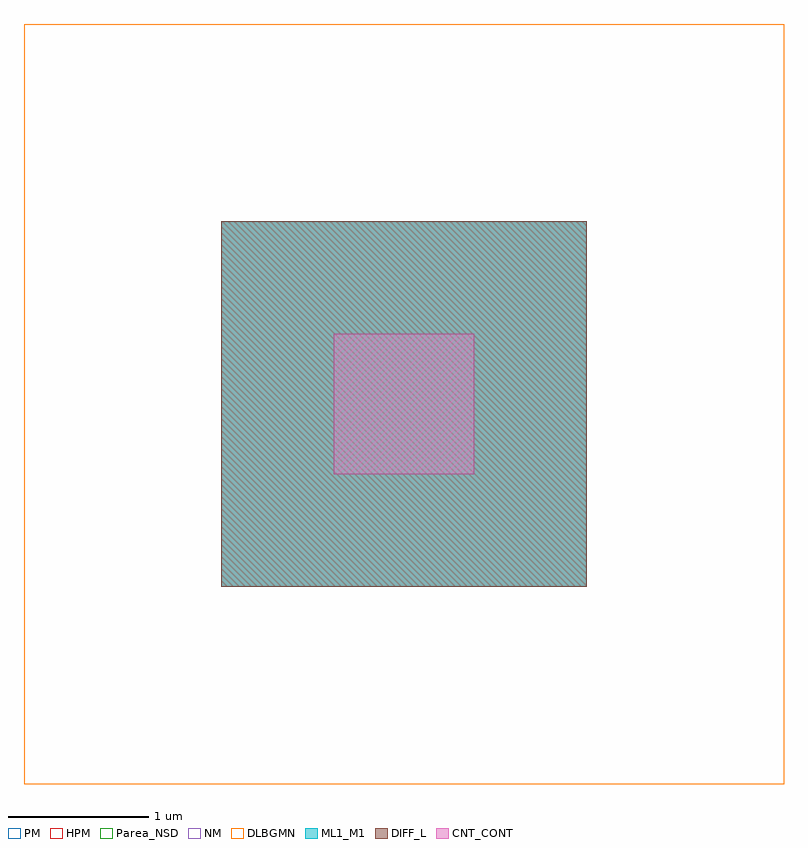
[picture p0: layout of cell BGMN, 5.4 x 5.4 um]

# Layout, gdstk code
import gdstk
lib = gdstk.Library(unit=1e-6, precision=1e-09)
def R(c, l, rs):  # rectangles x0, y0, x1, y1
    for r in rs: c.add(gdstk.rectangle(r[:2], r[2:], *l))
DIFF_L = (3, 0)
NM = (7, 0)
CNT_CONT = (11, 0)
ML1_M1 = (13, 0)
Parea_NSD = (28, 0)
HPM = (33, 0)
PM = (35, 0)
DLBGMN = (178, 0)

dcont = lib.new_cell('DCONT')
R(dcont, DIFF_L, [(-1.3,-1.3,1.3,1.3)])
R(dcont, CNT_CONT, [(-0.5,-0.5,0.5,0.5)])
R(dcont, ML1_M1, [(-1.3,-1.3,1.3,1.3), (-0.5,-0.5,0.5,0.5)])

bgmn = lib.new_cell('BGMN')
R(bgmn, NM, [(-2.7,-2.7,2.7,2.7)])
R(bgmn, Parea_NSD, [(-2.7,-2.7,2.7,2.7)])
R(bgmn, HPM, [(-2.7,-2.7,2.7,2.7)])
R(bgmn, PM, [(-2.7,-2.7,2.7,2.7)])
R(bgmn, DLBGMN, [(-2.7,-2.7,2.7,2.7)])
bgmn.add(gdstk.Reference(dcont, (0,0)))

lib.write_gds('BGMN.gds')
